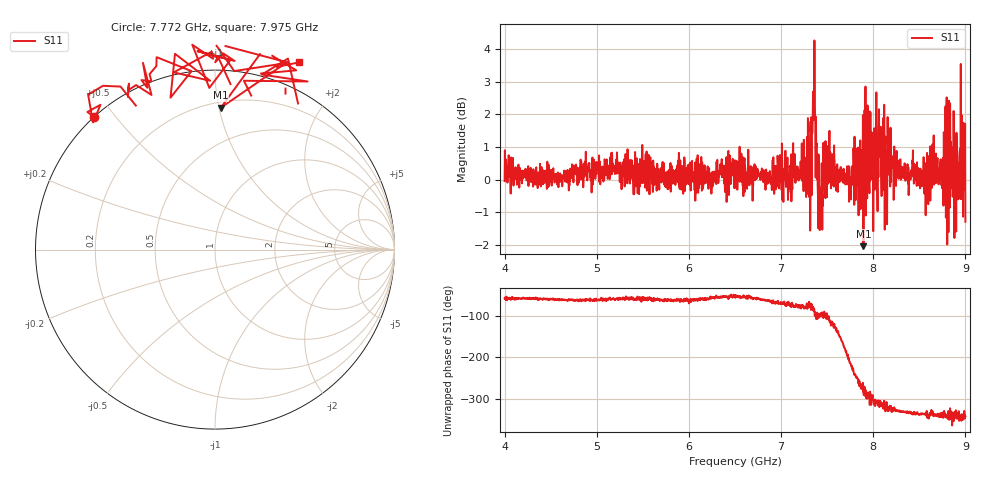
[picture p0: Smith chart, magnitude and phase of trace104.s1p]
! Created with skrf 1.8.0 (http://scikit-rf.org).
# Hz S RI R 50.0
!freq ReS11 ImS11
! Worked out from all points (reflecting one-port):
!   1601 points, 4 GHz to 9 GHz, reference 50 ohm
!   lowest |S11| = -2.0 dB at 7.894 GHz (marker M1), VSWR 8.58, Z = 12 + j50.6 ohm
!   phase of S11 starts at -57 deg and turns -285 deg over the sweep
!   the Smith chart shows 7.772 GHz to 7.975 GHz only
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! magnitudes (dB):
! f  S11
! 4 GHz  0.0
! 4.625 GHz  -0.2
! 5.25 GHz  -0.1
! 5.875 GHz  0.4
! 6.5 GHz  0.6
! 6.984 GHz  0.4
! 7.097 GHz  0.3
! 7.125 GHz  0.1
! 7.294 GHz  1.5
! 7.328 GHz  0.8
! 7.359 GHz  2.0
! 7.388 GHz  1.1
! 7.4 GHz  -0.5
! 7.428 GHz  -0.7
! 7.525 GHz  1.5
! 7.75 GHz  -0.3
! 7.894 GHz  -2.0
! 7.944 GHz  1.0
! 7.962 GHz  2.1
! 8.022 GHz  0.3
! 8.056 GHz  0.1
! 8.066 GHz  0.7
! 8.375 GHz  0.2
! 8.581 GHz  -0.7
! 8.847 GHz  1.0
! 8.906 GHz  1.1
! 8.972 GHz  1.1
! 9 GHz  -1.3
